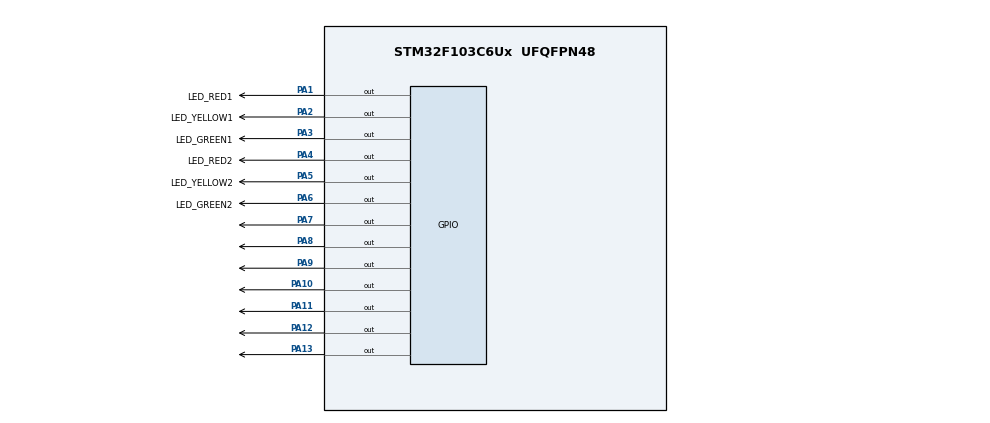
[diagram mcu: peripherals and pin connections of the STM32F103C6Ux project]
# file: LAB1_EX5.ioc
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Mcu.Family=STM32F1
Mcu.Name=STM32F103C6Ux
Mcu.Package=UFQFPN48
NVIC.PriorityGroup=NVIC_PRIORITYGROUP_4
PA1.GPIO_Label=LED_RED1
PA1.Signal=GPIO_Output
PA10.Signal=GPIO_Output
PA11.Signal=GPIO_Output
PA12.Signal=GPIO_Output
PA13.Signal=GPIO_Output
PA2.GPIO_Label=LED_YELLOW1
PA2.Signal=GPIO_Output
PA3.GPIO_Label=LED_GREEN1
PA3.Signal=GPIO_Output
PA4.GPIO_Label=LED_RED2
PA4.Signal=GPIO_Output
PA5.GPIO_Label=LED_YELLOW2
PA5.Signal=GPIO_Output
PA6.GPIO_Label=LED_GREEN2
PA6.Signal=GPIO_Output
PA7.Signal=GPIO_Output
PA8.Signal=GPIO_Output
PA9.Signal=GPIO_Output
ProjectManager.HeapSize=0x200
ProjectManager.StackSize=0x400
ProjectManager.TargetToolchain=STM32CubeIDE
RCC.APB1Freq_Value=8000000
RCC.APB2Freq_Value=8000000
VP_SYS_VS_ND.Mode=No_Debug
board=custom

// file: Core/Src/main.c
/* USER CODE BEGIN Header */
/**
  ******************************************************************************
  * @file           : main.c
  * @brief          : Main program body
  ******************************************************************************
  * @attention
  *
  * <h2><center>&copy; Copyright (c) 2025 STMicroelectronics.
  * All rights reserved.</center></h2>
  *
  * This software component is licensed by ST under BSD 3-Clause license,
  * the "License"; You may not use this file except in compliance with the
  * License. You may obtain a copy of the License at:
  *                        opensource.org/licenses/BSD-3-Clause
  *
  ******************************************************************************
  */
/* USER CODE END Header */
#include "main.h"

/* USER CODE BEGIN PV */
unsigned char tbl47segA [] = {0xC0, 0xF9, 0xA4, 0xB0, 0x99, 0x92, 0x82, 0xF8, 0x80, 0x90};
const uint16_t segPins[7] = {GPIO_PIN_7, GPIO_PIN_8, GPIO_PIN_9,
                            GPIO_PIN_10, GPIO_PIN_11, GPIO_PIN_12, GPIO_PIN_13};

/* USER CODE END PV */

void SystemClock_Config(void);
static void MX_GPIO_Init(void);

/* USER CODE BEGIN 0 */
void display7SEG(int num);
void countdownRoad1(int seconds);
/* USER CODE END 0 */

int main(void)
{

  /* MCU Configuration--------------------------------------------------------*/

  /* Reset of all peripherals, Initializes the Flash interface and the Systick. */
  HAL_Init();

  /* Configure the system clock */
  SystemClock_Config();

  /* Initialize all configured peripherals */
  MX_GPIO_Init();

  /* Infinite loop */
  /* USER CODE BEGIN WHILE */
  while (1)
  {
	      HAL_GPIO_WritePin(LED_RED1_GPIO_Port, LED_RED1_Pin, GPIO_PIN_RESET);
	      HAL_GPIO_WritePin(LED_YELLOW1_GPIO_Port, LED_YELLOW1_Pin, GPIO_PIN_SET);
	      HAL_GPIO_WritePin(LED_GREEN1_GPIO_Port, LED_GREEN1_Pin, GPIO_PIN_SET);

	      HAL_GPIO_WritePin(LED_RED2_GPIO_Port, LED_RED2_Pin, GPIO_PIN_SET);
	      HAL_GPIO_WritePin(LED_YELLOW2_GPIO_Port, LED_YELLOW2_Pin, GPIO_PIN_SET);
	      HAL_GPIO_WritePin(LED_GREEN2_GPIO_Port, LED_GREEN2_Pin, GPIO_PIN_RESET);

	      countdownRoad1(5);

	      HAL_GPIO_WritePin(LED_RED1_GPIO_Port, LED_RED1_Pin, GPIO_PIN_SET);
	      HAL_GPIO_WritePin(LED_YELLOW1_GPIO_Port, LED_YELLOW1_Pin, GPIO_PIN_SET);
	      HAL_GPIO_WritePin(LED_GREEN1_GPIO_Port, LED_GREEN1_Pin, GPIO_PIN_RESET);

	      HAL_GPIO_WritePin(LED_RED2_GPIO_Port, LED_RED2_Pin, GPIO_PIN_RESET);
	      HAL_GPIO_WritePin(LED_YELLOW2_GPIO_Port, LED_YELLOW2_Pin, GPIO_PIN_SET);
	      HAL_GPIO_WritePin(LED_GREEN2_GPIO_Port, LED_GREEN2_Pin, GPIO_PIN_SET);

	      countdownRoad1(3);

	      HAL_GPIO_WritePin(LED_RED1_GPIO_Port, LED_RED1_Pin, GPIO_PIN_SET);
	      HAL_GPIO_WritePin(LED_YELLOW1_GPIO_Port, LED_YELLOW1_Pin, GPIO_PIN_RESET);
	      HAL_GPIO_WritePin(LED_GREEN1_GPIO_Port, LED_GREEN1_Pin, GPIO_PIN_SET);

	      HAL_GPIO_WritePin(LED_RED2_GPIO_Port, LED_RED2_Pin, GPIO_PIN_RESET);
	      HAL_GPIO_WritePin(LED_YELLOW2_GPIO_Port, LED_YELLOW2_Pin, GPIO_PIN_SET);
	      HAL_GPIO_WritePin(LED_GREEN2_GPIO_Port, LED_GREEN2_Pin, GPIO_PIN_SET);

	      countdownRoad1(2);
    /* USER CODE END WHILE */

  }
}

void SystemClock_Config(void)
{
  RCC_OscInitTypeDef RCC_OscInitStruct = {0};
  RCC_ClkInitTypeDef RCC_ClkInitStruct = {0};

  /** Initializes the RCC Oscillators according to the specified parameters
  * in the RCC_OscInitTypeDef structure.
  */
  RCC_OscInitStruct.OscillatorType = RCC_OSCILLATORTYPE_HSI;
  RCC_OscInitStruct.HSIState = RCC_HSI_ON;
  RCC_OscInitStruct.HSICalibrationValue = RCC_HSICALIBRATION_DEFAULT;
  RCC_OscInitStruct.PLL.PLLState = RCC_PLL_NONE;
  if (HAL_RCC_OscConfig(&RCC_OscInitStruct) != HAL_OK)
  {
    Error_Handler();
  }
  /** Initializes the CPU, AHB and APB buses clocks
  */
  RCC_ClkInitStruct.ClockType = RCC_CLOCKTYPE_HCLK|RCC_CLOCKTYPE_SYSCLK
                              |RCC_CLOCKTYPE_PCLK1|RCC_CLOCKTYPE_PCLK2;
  RCC_ClkInitStruct.SYSCLKSource = RCC_SYSCLKSOURCE_HSI;
  RCC_ClkInitStruct.AHBCLKDivider = RCC_SYSCLK_DIV1;
  RCC_ClkInitStruct.APB1CLKDivider = RCC_HCLK_DIV1;
  RCC_ClkInitStruct.APB2CLKDivider = RCC_HCLK_DIV1;

  if (HAL_RCC_ClockConfig(&RCC_ClkInitStruct, FLASH_LATENCY_0) != HAL_OK)
  {
    Error_Handler();
  }
}

static void MX_GPIO_Init(void)
{
  GPIO_InitTypeDef GPIO_InitStruct = {0};

  /* GPIO Ports Clock Enable */
  __HAL_RCC_GPIOA_CLK_ENABLE();

  /*Configure GPIO pin Output Level */
  HAL_GPIO_WritePin(GPIOA, LED_RED1_Pin|LED_YELLOW1_Pin|LED_GREEN1_Pin|LED_RED2_Pin
                          |LED_YELLOW2_Pin|LED_GREEN2_Pin|GPIO_PIN_7|GPIO_PIN_8
                          |GPIO_PIN_9|GPIO_PIN_10|GPIO_PIN_11|GPIO_PIN_12
                          |GPIO_PIN_13, GPIO_PIN_RESET);

  /*Configure GPIO pins : LED_RED1_Pin LED_YELLOW1_Pin LED_GREEN1_Pin LED_RED2_Pin
                           LED_YELLOW2_Pin LED_GREEN2_Pin PA7 PA8
                           PA9 PA10 PA11 PA12
                           PA13 */
  GPIO_InitStruct.Pin = LED_RED1_Pin|LED_YELLOW1_Pin|LED_GREEN1_Pin|LED_RED2_Pin
                          |LED_YELLOW2_Pin|LED_GREEN2_Pin|GPIO_PIN_7|GPIO_PIN_8
                          |GPIO_PIN_9|GPIO_PIN_10|GPIO_PIN_11|GPIO_PIN_12
                          |GPIO_PIN_13;
  GPIO_InitStruct.Mode = GPIO_MODE_OUTPUT_PP;
  GPIO_InitStruct.Pull = GPIO_NOPULL;
  GPIO_InitStruct.Speed = GPIO_SPEED_FREQ_LOW;
  HAL_GPIO_Init(GPIOA, &GPIO_InitStruct);

}

/* USER CODE BEGIN 4 */
void display7SEG(int num) {
	if (num < 0 || num > 9) return;

	    uint8_t pattern = tbl47segA[num];

	    for (int i = 0; i < 7; ++i) {
	        GPIO_PinState state = (pattern & (1u << i)) ? GPIO_PIN_SET : GPIO_PIN_RESET;
	        HAL_GPIO_WritePin(GPIOA, segPins[i], state);
	    }
}

void countdownRoad1(int seconds) {
	for (int t = seconds; t > 0; t--) {
	        if (t < 10) {
	            display7SEG(t);
	        }
	        HAL_Delay(1000);
	    }
}

/* USER CODE END 4 */

void Error_Handler(void)
{
  __disable_irq();
  while (1)
  {
  }
}

/************************ (C) COPYRIGHT STMicroelectronics *****END OF FILE****/
